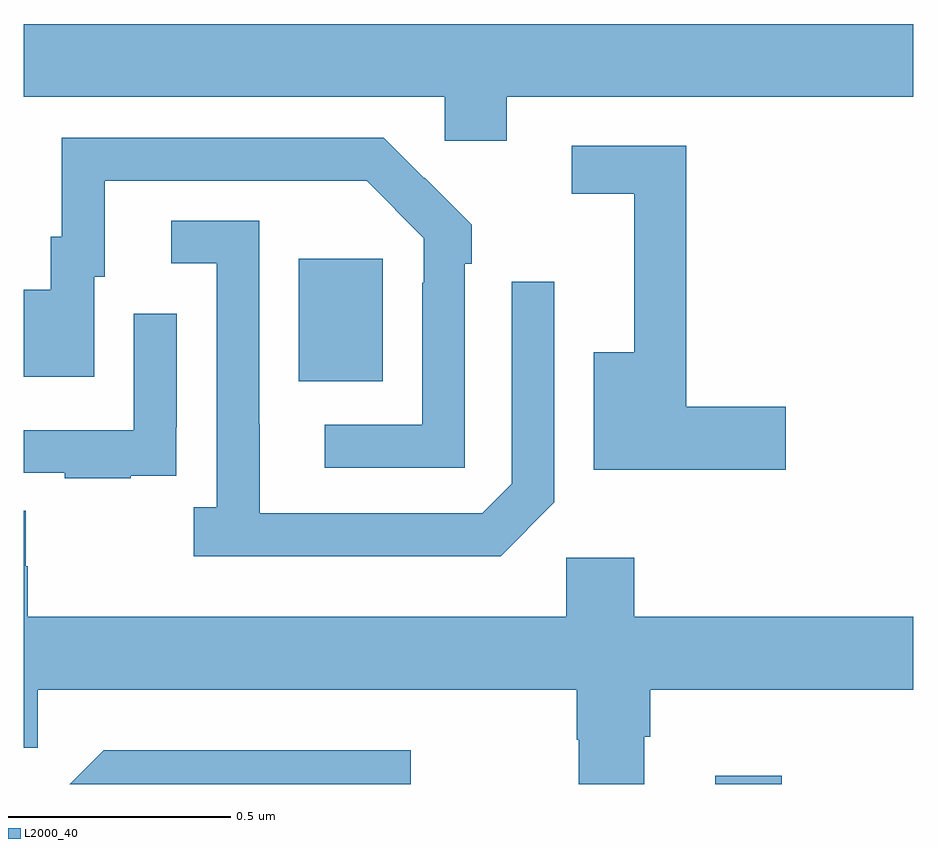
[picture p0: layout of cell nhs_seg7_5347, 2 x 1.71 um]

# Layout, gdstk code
import gdstk
lib = gdstk.Library(unit=1e-6, precision=1e-09)
def R(c, l, rs):  # rectangles x0, y0, x1, y1
    for r in rs: c.add(gdstk.rectangle(r[:2], r[2:], *l))
def P(c, l, *ps):  # polygons
    for p in ps: c.add(gdstk.Polygon(p, *l))
L2000_40 = (2000, 40)

nhs_seg7_5347 = lib.new_cell('nhs_seg7_5347')
R(nhs_seg7_5347, L2000_40, [(185.555,1071,185.704,1071.019), (184.619,1071.905,184.807,1072.18)])
P(nhs_seg7_5347, L2000_40, [(185.086,1072.544),(186,1072.544),(186,1072.708),(184,1072.708),(184,1072.544),(184.947,1072.544),(184.947,1072.446),(185.086,1072.446)],
  [(184.992,1072.169),(185.007,1072.169),(185.007,1072.257),(184.902,1072.362),(184.901,1072.361),(184.81,1072.452),(184.086,1072.452),(184.086,1072.23),(184.061,1072.23),(184.061,1072.111),(184,1072.111),(184,1071.915),(184.159,1071.915),(184.159,1072.14),(184.183,1072.14),(184.183,1072.356),(184.771,1072.356),(184.899,1072.227),(184.899,1072.127),(184.896,1072.127),(184.896,1071.807),(184.677,1071.807),(184.677,1071.711),(184.992,1071.711)],
  [(185.713,1071.848),(185.489,1071.848),(185.489,1072.434),(185.232,1072.434),(185.232,1072.326),(185.372,1072.326),(185.372,1071.97),(185.282,1071.97),(185.282,1071.706),(185.713,1071.706)],
  [(185.193,1071.633),(185.193,1072.129),(185.097,1072.129),(185.097,1071.675),(185.031,1071.609),(184.531,1071.609),(184.531,1071.809),(184.53,1071.809),(184.53,1072.266),(184.332,1072.266),(184.332,1072.17),(184.434,1072.17),(184.434,1071.622),(184.383,1071.622),(184.383,1071.512),(185.072,1071.512)],
  [(184.241,1071.693),(184.343,1071.693),(184.343,1071.802),(184.344,1071.802),(184.344,1072.057),(184.248,1072.057),(184.248,1071.795),(184,1071.795),(184,1071.699),(184.093,1071.699),(184.093,1071.687),(184.241,1071.687)],
  [(185.395,1071.106),(185.408,1071.106),(185.408,1071.212),(186,1071.212),(186,1071.376),(185.372,1071.376),(185.372,1071.508),(185.22,1071.508),(185.22,1071.376),(184.01,1071.376),(184.01,1071.489),(184.005,1071.489),(184.005,1071.614),(184,1071.614),(184,1071.081),(184.032,1071.081),(184.032,1071.212),(185.243,1071.212),(185.243,1071.099),(185.248,1071.099),(185.248,1071),(185.395,1071)],
  [(184.87,1071.076),(184.18,1071.076),(184.104,1071),(184.87,1071)])

lib.write_gds('nhs_seg7_5347.gds')
